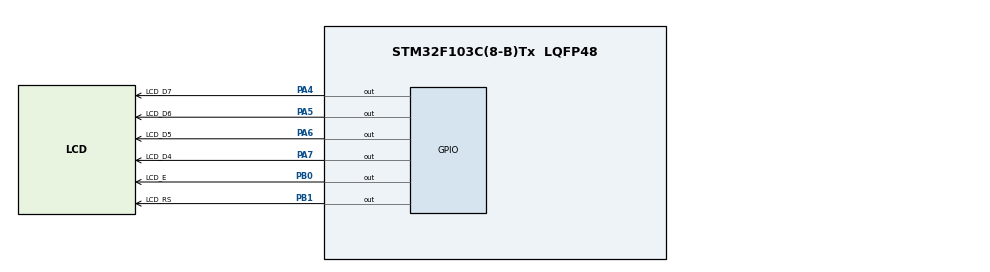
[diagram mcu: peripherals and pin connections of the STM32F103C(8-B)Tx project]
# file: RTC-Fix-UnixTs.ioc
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Mcu.Family=STM32F1
Mcu.Name=STM32F103C(8-B)Tx
Mcu.Package=LQFP48
NVIC.PriorityGroup=NVIC_PRIORITYGROUP_4
PA13.Mode=Serial_Wire
PA13.Signal=SYS_JTMS-SWDIO
PA14.Mode=Serial_Wire
PA14.Signal=SYS_JTCK-SWCLK
PA4.GPIO_Label=LCD_D7
PA4.GPIO_ModeDefaultOutputPP=GPIO_MODE_OUTPUT_PP
PA4.GPIO_Speed=GPIO_SPEED_FREQ_HIGH
PA4.PinState=GPIO_PIN_RESET
PA4.Signal=GPIO_Output
PA5.GPIO_Label=LCD_D6
PA5.GPIO_ModeDefaultOutputPP=GPIO_MODE_OUTPUT_PP
PA5.GPIO_Speed=GPIO_SPEED_FREQ_HIGH
PA5.PinState=GPIO_PIN_RESET
PA5.Signal=GPIO_Output
PA6.GPIO_Label=LCD_D5
PA6.GPIO_ModeDefaultOutputPP=GPIO_MODE_OUTPUT_PP
PA6.GPIO_Speed=GPIO_SPEED_FREQ_HIGH
PA6.PinState=GPIO_PIN_RESET
PA6.Signal=GPIO_Output
PA7.GPIO_Label=LCD_D4
PA7.GPIO_ModeDefaultOutputPP=GPIO_MODE_OUTPUT_PP
PA7.GPIO_Speed=GPIO_SPEED_FREQ_HIGH
PA7.PinState=GPIO_PIN_RESET
PA7.Signal=GPIO_Output
PB0.GPIO_Label=LCD_E
PB0.GPIO_ModeDefaultOutputPP=GPIO_MODE_OUTPUT_PP
PB0.GPIO_Speed=GPIO_SPEED_FREQ_HIGH
PB0.PinState=GPIO_PIN_RESET
PB0.Signal=GPIO_Output
PB1.GPIO_Label=LCD_RS
PB1.GPIO_ModeDefaultOutputPP=GPIO_MODE_OUTPUT_PP
PB1.GPIO_Speed=GPIO_SPEED_FREQ_HIGH
PB1.PinState=GPIO_PIN_RESET
PB1.Signal=GPIO_Output
PC14-OSC32_IN.Mode=LSE-External-Oscillator
PC14-OSC32_IN.Signal=RCC_OSC32_IN
PC15-OSC32_OUT.Mode=LSE-External-Oscillator
PC15-OSC32_OUT.Signal=RCC_OSC32_OUT
PD0-OSC_IN.Mode=HSE-External-Oscillator
PD0-OSC_IN.Signal=RCC_OSC_IN
PD1-OSC_OUT.Mode=HSE-External-Oscillator
PD1-OSC_OUT.Signal=RCC_OSC_OUT
ProjectManager.HeapSize=0x200
ProjectManager.StackSize=0x400
ProjectManager.TargetToolchain=STM32CubeIDE
RCC.APB1Freq_Value=8000000
RCC.APB2Freq_Value=8000000
RCC.RTCClockSelection=RCC_RTCCLKSOURCE_LSE
VP_RTC_VS_RTC_Activate.Mode=RTC_Enabled
board=custom

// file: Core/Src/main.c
/* USER CODE BEGIN Header */
/**
  ******************************************************************************
  * @file           : main.c
  * @brief          : Main program body
  ******************************************************************************
  * @attention
  *
  * Copyright (c) 2024 STMicroelectronics.
  * All rights reserved.
  *
  * This software is licensed under terms that can be found in the LICENSE file
  * in the root directory of this software component.
  * If no LICENSE file comes with this software, it is provided AS-IS.
  *
  ******************************************************************************
  */
/* USER CODE END Header */
#include "main.h"

/* USER CODE BEGIN Includes */
#include <stdio.h>

#include "aRtc.h"
#include "lcdDisplay.h"
/* USER CODE END Includes */

RTC_HandleTypeDef hrtc;

/* USER CODE BEGIN PV */
lcd_t Lcd;
uint8_t Start = 0;
/* USER CODE END PV */

void SystemClock_Config(void);
static void MX_GPIO_Init(void);
static void MX_RTC_Init(void);

/* USER CODE BEGIN 0 */
void _start_Lcd(){
	Lcd.columns = 16;
	Lcd.rows = 2;
	Lcd.interface = LCD_INTERFACE_4BIT;
	Lcd.font = LCD_FONT_5X8;
	Lcd.gpios[LCD_RS].GPIO = LCD_RS_GPIO_Port;
	Lcd.gpios[LCD_RS].pin = LCD_RS_Pin;
	Lcd.gpios[LCD_E].GPIO = LCD_E_GPIO_Port;
	Lcd.gpios[LCD_E].pin = LCD_E_Pin;
	Lcd.gpios[LCD_D4].GPIO = LCD_D4_GPIO_Port;
	Lcd.gpios[LCD_D4].pin = LCD_D4_Pin;
	Lcd.gpios[LCD_D5].GPIO = LCD_D5_GPIO_Port;
	Lcd.gpios[LCD_D5].pin = LCD_D5_Pin;
	Lcd.gpios[LCD_D6].GPIO = LCD_D6_GPIO_Port;
	Lcd.gpios[LCD_D6].pin = LCD_D6_Pin;
	Lcd.gpios[LCD_D7].GPIO = LCD_D7_GPIO_Port;
	Lcd.gpios[LCD_D7].pin = LCD_D7_Pin;

	lcd_init(&Lcd);
	lcd_send_string_pos(&Lcd, "RTC Test", 0, 0);
}
/* USER CODE END 0 */

int main(void)
{

  /* MCU Configuration--------------------------------------------------------*/

  /* Reset of all peripherals, Initializes the Flash interface and the Systick. */
  HAL_Init();

  /* Configure the system clock */
  SystemClock_Config();

  /* USER CODE BEGIN SysInit */
  HAL_Delay(500);
  /* USER CODE END SysInit */

  /* Initialize all configured peripherals */
  MX_GPIO_Init();
  MX_RTC_Init();
  /* USER CODE BEGIN 2 */
  if (Start == 1){
	  struct tm InitTime;

	  InitTime.tm_hour = 21;
	  InitTime.tm_min = 00;
	  InitTime.tm_sec = 00;

	  InitTime.tm_mday = 2;
	  InitTime.tm_mon = 0;
	  InitTime.tm_year = (2024-1900);
	  aRtc_set(&hrtc, InitTime);
  }

  _start_Lcd();
  /* USER CODE END 2 */

  /* Infinite loop */
  /* USER CODE BEGIN WHILE */
  while (1)
  {
	  struct tm ActualTime;
	  char Text1[21], Text2[21];

	  aRtc_get(&hrtc, &ActualTime);
	  sprintf(Text1, "Hora: %02d:%02d:%02d", ActualTime.tm_hour,
			  	  	  	  	  	  	  	  ActualTime.tm_min,
										  ActualTime.tm_sec);
	  sprintf(Text2, "Data: %02d/%02d/%4d", ActualTime.tm_mday,
			  	  	  	  	  	  	  	  ActualTime.tm_mon+1,
										  (ActualTime.tm_year+1900));
//	  lcd_clear_row(&Lcd, 0);
	  lcd_send_string_pos(&Lcd, Text1, 0, 0);
//	  lcd_clear_row(&Lcd, 1);
	  lcd_send_string_pos(&Lcd, Text2, 1, 0);
	  HAL_Delay(1000);
    /* USER CODE END WHILE */

  }
}

void SystemClock_Config(void)
{
  RCC_OscInitTypeDef RCC_OscInitStruct = {0};
  RCC_ClkInitTypeDef RCC_ClkInitStruct = {0};
  RCC_PeriphCLKInitTypeDef PeriphClkInit = {0};

  /** Initializes the RCC Oscillators according to the specified parameters
  * in the RCC_OscInitTypeDef structure.
  */
  RCC_OscInitStruct.OscillatorType = RCC_OSCILLATORTYPE_HSI|RCC_OSCILLATORTYPE_LSE;
  RCC_OscInitStruct.LSEState = RCC_LSE_ON;
  RCC_OscInitStruct.HSIState = RCC_HSI_ON;
  RCC_OscInitStruct.HSICalibrationValue = RCC_HSICALIBRATION_DEFAULT;
  RCC_OscInitStruct.PLL.PLLState = RCC_PLL_NONE;
  if (HAL_RCC_OscConfig(&RCC_OscInitStruct) != HAL_OK)
  {
    Error_Handler();
  }

  /** Initializes the CPU, AHB and APB buses clocks
  */
  RCC_ClkInitStruct.ClockType = RCC_CLOCKTYPE_HCLK|RCC_CLOCKTYPE_SYSCLK
                              |RCC_CLOCKTYPE_PCLK1|RCC_CLOCKTYPE_PCLK2;
  RCC_ClkInitStruct.SYSCLKSource = RCC_SYSCLKSOURCE_HSI;
  RCC_ClkInitStruct.AHBCLKDivider = RCC_SYSCLK_DIV1;
  RCC_ClkInitStruct.APB1CLKDivider = RCC_HCLK_DIV1;
  RCC_ClkInitStruct.APB2CLKDivider = RCC_HCLK_DIV1;

  if (HAL_RCC_ClockConfig(&RCC_ClkInitStruct, FLASH_LATENCY_0) != HAL_OK)
  {
    Error_Handler();
  }
  PeriphClkInit.PeriphClockSelection = RCC_PERIPHCLK_RTC;
  PeriphClkInit.RTCClockSelection = RCC_RTCCLKSOURCE_LSE;
  if (HAL_RCCEx_PeriphCLKConfig(&PeriphClkInit) != HAL_OK)
  {
    Error_Handler();
  }
}

static void MX_RTC_Init(void)
{

  /** Initialize RTC Only
  */
  hrtc.Instance = RTC;
  hrtc.Init.AsynchPrediv = RTC_AUTO_1_SECOND;
  hrtc.Init.OutPut = RTC_OUTPUTSOURCE_ALARM;
  if (HAL_RTC_Init(&hrtc) != HAL_OK)
  {
    Error_Handler();
  }

}

static void MX_GPIO_Init(void)
{
  GPIO_InitTypeDef GPIO_InitStruct = {0};

  /* GPIO Ports Clock Enable */
  __HAL_RCC_GPIOC_CLK_ENABLE();
  __HAL_RCC_GPIOD_CLK_ENABLE();
  __HAL_RCC_GPIOA_CLK_ENABLE();
  __HAL_RCC_GPIOB_CLK_ENABLE();

  /*Configure GPIO pin Output Level */
  HAL_GPIO_WritePin(GPIOA, LCD_D7_Pin|LCD_D6_Pin|LCD_D5_Pin|LCD_D4_Pin, GPIO_PIN_RESET);

  /*Configure GPIO pin Output Level */
  HAL_GPIO_WritePin(GPIOB, LCD_E_Pin|LCD_RS_Pin, GPIO_PIN_RESET);

  /*Configure GPIO pins : LCD_D7_Pin LCD_D6_Pin LCD_D5_Pin LCD_D4_Pin */
  GPIO_InitStruct.Pin = LCD_D7_Pin|LCD_D6_Pin|LCD_D5_Pin|LCD_D4_Pin;
  GPIO_InitStruct.Mode = GPIO_MODE_OUTPUT_PP;
  GPIO_InitStruct.Pull = GPIO_NOPULL;
  GPIO_InitStruct.Speed = GPIO_SPEED_FREQ_HIGH;
  HAL_GPIO_Init(GPIOA, &GPIO_InitStruct);

  /*Configure GPIO pins : LCD_E_Pin LCD_RS_Pin */
  GPIO_InitStruct.Pin = LCD_E_Pin|LCD_RS_Pin;
  GPIO_InitStruct.Mode = GPIO_MODE_OUTPUT_PP;
  GPIO_InitStruct.Pull = GPIO_NOPULL;
  GPIO_InitStruct.Speed = GPIO_SPEED_FREQ_HIGH;
  HAL_GPIO_Init(GPIOB, &GPIO_InitStruct);

}

void Error_Handler(void)
{
  __disable_irq();
  while (1)
  {
  }
}
